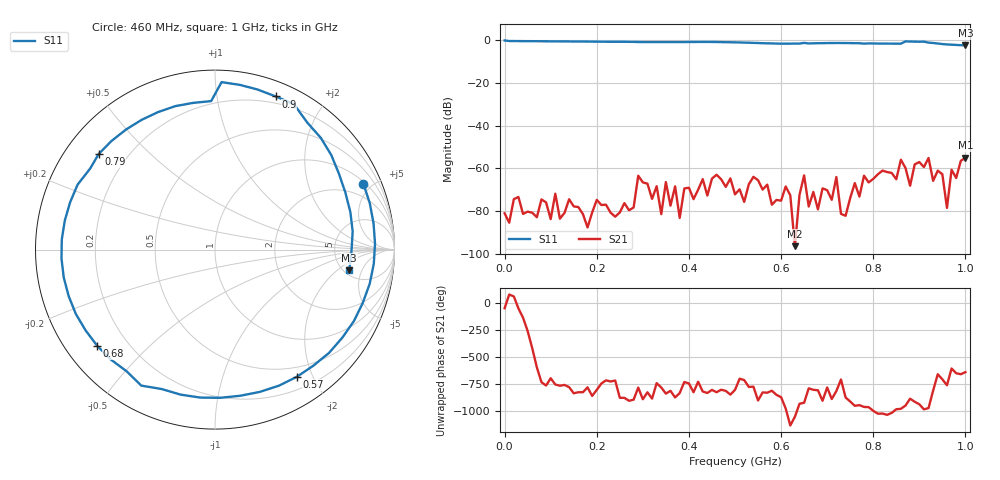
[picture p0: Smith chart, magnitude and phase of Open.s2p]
# HZ S RI R 50
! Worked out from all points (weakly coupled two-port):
!   101 points, 50 kHz to 1 GHz, reference 50 ohm
!   highest |S21| = -55.01 dB at 1 GHz (marker M1); lowest = -96.4 dB at 630 MHz (marker M2)
!   lowest |S11| = -2.4 dB at 1 GHz (marker M3), VSWR 7.23, Z = 279 - j150 ohm
!   |S11| at or under -10 dB: nowhere
!   S12 and S22 are empty: the file has one direction only
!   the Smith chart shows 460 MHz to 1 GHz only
!   S11 on the Smith chart (normalised r, x): 460 MHz: 1.10, +4.46; 570 MHz: 0.36, -1.78; 680 MHz: 0.09, -0.35; 790 MHz: 0.10, +0.35; 900 MHz: 0.14, +1.46; 1 GHz: 5.59, -2.99
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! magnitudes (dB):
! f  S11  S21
! 50 kHz  -0.1  -81.0
! 170 MHz  -0.7  -81.4
! 280 MHz  -0.8  -78.3
! 290 MHz  -0.9  -63.4
! 340 MHz  -0.9  -81.4
! 350 MHz  -0.9  -66.4
! 380 MHz  -0.9  -83.2
! 460 MHz  -0.9  -63.0
! 500 MHz  -1.0  -72.2
! 570 MHz  -1.5  -67.6
! 630 MHz  -1.6  -96.4
! 650 MHz  -1.3  -63.3
! 660 MHz  -1.5  -77.9
! 670 MHz  -1.5  -71.0
! 680 MHz  -1.4  -79.2
! 790 MHz  -1.5  -66.6
! 840 MHz  -1.6  -62.1
! 900 MHz  -0.7  -57.0
! 950 MHz  -1.8  -62.8
! 960 MHz  -2.0  -78.5
! 970 MHz  -2.1  -60.6
! 1 GHz  -2.4  -55.0
